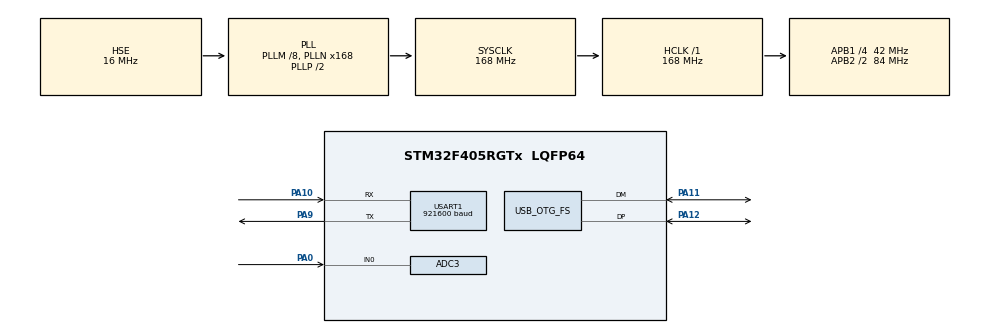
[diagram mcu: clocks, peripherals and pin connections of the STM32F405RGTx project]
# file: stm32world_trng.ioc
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ADC3.Channel-0\#ChannelRegularConversion=ADC_CHANNEL_0
ADC3.DMAContinuousRequests=ENABLE
ADC3.ExternalTrigConv=ADC_EXTERNALTRIGCONV_T8_TRGO
ADC3.InjNumberOfConversion=0
ADC3.NbrOfConversionFlag=1
ADC3.Rank-0\#ChannelRegularConversion=1
ADC3.SamplingTime-0\#ChannelRegularConversion=ADC_SAMPLETIME_3CYCLES
ADC3.ScanConvMode=DISABLE
Dma.ADC3.0.Direction=DMA_PERIPH_TO_MEMORY
Dma.ADC3.0.FIFOMode=DMA_FIFOMODE_DISABLE
Dma.ADC3.0.Instance=DMA2_Stream0
Dma.ADC3.0.MemDataAlignment=DMA_MDATAALIGN_HALFWORD
Dma.ADC3.0.MemInc=DMA_MINC_ENABLE
Dma.ADC3.0.Mode=DMA_CIRCULAR
Dma.ADC3.0.PeriphDataAlignment=DMA_PDATAALIGN_HALFWORD
Dma.ADC3.0.PeriphInc=DMA_PINC_DISABLE
Dma.ADC3.0.Priority=DMA_PRIORITY_LOW
Dma.Request0=ADC3
Mcu.Family=STM32F4
Mcu.Name=STM32F405RGTx
Mcu.Package=LQFP64
NVIC.DMA2_Stream0_IRQn=true\:0\:0\:false\:false\:true\:false\:true\:true
NVIC.OTG_FS_IRQn=true\:0\:0\:false\:false\:true\:false\:true\:true
NVIC.PriorityGroup=NVIC_PRIORITYGROUP_4
NVIC.TIM8_UP_TIM13_IRQn=true\:0\:0\:false\:false\:true\:true\:true\:true
PA0-WKUP.Signal=ADCx_IN0
PA10.Mode=Asynchronous
PA10.Signal=USART1_RX
PA11.Mode=Device_Only
PA11.Signal=USB_OTG_FS_DM
PA12.Mode=Device_Only
PA12.Signal=USB_OTG_FS_DP
PA13.Mode=Trace_Asynchronous_SW
PA13.Signal=SYS_JTMS-SWDIO
PA14.Mode=Trace_Asynchronous_SW
PA14.Signal=SYS_JTCK-SWCLK
PA9.Mode=Asynchronous
PA9.Signal=USART1_TX
PB3.Mode=Trace_Asynchronous_SW
PB3.Signal=SYS_JTDO-SWO
PH0-OSC_IN.Mode=HSE-External-Oscillator
PH0-OSC_IN.Signal=RCC_OSC_IN
PH1-OSC_OUT.Mode=HSE-External-Oscillator
PH1-OSC_OUT.Signal=RCC_OSC_OUT
ProjectManager.HeapSize=0x200
ProjectManager.StackSize=0x400
ProjectManager.TargetToolchain=STM32CubeIDE
RCC.48MHZClocksFreq_Value=48000000
RCC.AHBFreq_Value=168000000
RCC.APB1CLKDivider=RCC_HCLK_DIV4
RCC.APB1Freq_Value=42000000
RCC.APB1TimFreq_Value=84000000
RCC.APB2CLKDivider=RCC_HCLK_DIV2
RCC.APB2Freq_Value=84000000
RCC.APB2TimFreq_Value=168000000
RCC.CortexFreq_Value=168000000
RCC.HCLKFreq_Value=168000000
RCC.HSE_VALUE=16000000
RCC.HSI_VALUE=16000000
RCC.LSE_VALUE=32768
RCC.PLLM=8
RCC.PLLN=168
RCC.PLLQ=7
RCC.SYSCLKFreq_VALUE=168000000
RCC.SYSCLKSource=RCC_SYSCLKSOURCE_PLLCLK
RCC.VCOOutputFreq_Value=336000000
SH.ADCx_IN0.0=ADC3_IN0,IN0
TIM8.AutoReloadPreload=TIM_AUTORELOAD_PRELOAD_ENABLE
TIM8.Period=1999
TIM8.Prescaler=2624
TIM8.TIM_MasterOutputTrigger=TIM_TRGO_UPDATE
USART1.BaudRate=921600
USART1.VirtualMode=VM_ASYNC
USB_DEVICE.CLASS_NAME_FS=MSC
USB_DEVICE.MANUFACTURER_STRING-MSC_FS=STM32World
USB_DEVICE.PRODUCT_STRING_MSC_FS=Random
USB_DEVICE.USBD_SELF_POWERED-MSC_FS=0
USB_DEVICE.VirtualMode-MSC_FS=Msc
USB_DEVICE.VirtualModeFS=Msc_FS
USB_OTG_FS.VirtualMode=Device_Only
VP_RNG_VS_RNG.Mode=RNG_Activate
VP_TIM8_VS_ClockSourceINT.Mode=Internal
VP_USB_DEVICE_VS_USB_DEVICE_MSC_FS.Mode=MSC_FS
board=custom

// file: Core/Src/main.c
/* USER CODE BEGIN Header */
/**
 ******************************************************************************
 * @file           : main.c
 * @brief          : Main program body
 ******************************************************************************
 * @attention
 *
 * Copyright (c) 2024 Lars Boegild Thomsen <lth@stm32qworld.com>
 * All rights reserved.
 *
 * This software is licensed under terms that can be found in the LICENSE file
 * in the root directory of this software component.
 * If no LICENSE file comes with this software, it is provided AS-IS.
 *
 ******************************************************************************
 */
/* USER CODE END Header */
#include "main.h"
#include "usb_device.h"

/* USER CODE BEGIN Includes */
#include <stdio.h>
#include <math.h>
#include "trng.h"
/* USER CODE END Includes */

/* USER CODE BEGIN PD */
#define BUFFER_SIZE 32
/* USER CODE END PD */

ADC_HandleTypeDef hadc3;
DMA_HandleTypeDef hdma_adc3;

RNG_HandleTypeDef hrng;

TIM_HandleTypeDef htim8;

UART_HandleTypeDef huart1;

/* USER CODE BEGIN PV */
uint16_t buffer[2 * BUFFER_SIZE];
uint16_t last_adc;
uint32_t last_seed;
/* USER CODE END PV */

void SystemClock_Config(void);
static void MX_GPIO_Init(void);
static void MX_DMA_Init(void);
static void MX_USART1_UART_Init(void);
static void MX_RNG_Init(void);
static void MX_ADC3_Init(void);
static void MX_TIM8_Init(void);

/* USER CODE BEGIN 0 */

// Send printf to uart1
int _write(int fd, char *ptr, int len) {
    HAL_StatusTypeDef hstatus;

    if (fd == 1 || fd == 2) {
        hstatus = HAL_UART_Transmit(&huart1, (uint8_t*) ptr, len, HAL_MAX_DELAY);
        if (hstatus == HAL_OK)
            return len;
        else
            return -1;
    }
    return -1;
}

void do_adc(uint16_t *buf) {

    uint32_t seed = 0;

    for (int i = 0; i < BUFFER_SIZE; ++i) {
        seed |= (uint32_t) (buf[i] & 0x01); // Use only the least significant bit
        if (i != BUFFER_SIZE - 1)
            seed = seed << 1;
    }

    //printf("New seed: 0x%08lx\n", seed);
    srandom(seed);
    last_adc = buf[0];
    last_seed = seed;

}

void HAL_ADC_ConvCpltCallback(ADC_HandleTypeDef *hadc) {
    do_adc(&buffer[BUFFER_SIZE]);
}

void HAL_ADC_ConvHalfCpltCallback(ADC_HandleTypeDef *hadc) {
    do_adc(&buffer[0]);
}

/* USER CODE END 0 */

int main(void)
{

    /* MCU Configuration--------------------------------------------------------*/

    /* Reset of all peripherals, Initializes the Flash interface and the Systick. */
    HAL_Init();

    /* Configure the system clock */
    SystemClock_Config();

    /* Initialize all configured peripherals */
    MX_GPIO_Init();
    MX_DMA_Init();
    MX_USART1_UART_Init();
    MX_USB_DEVICE_Init();
    MX_RNG_Init();
    MX_ADC3_Init();
    MX_TIM8_Init();
    /* USER CODE BEGIN 2 */

    printf("\n\n\n\nStarting trng\n");

    HAL_TIM_Base_Start_IT(&htim8);
    HAL_ADC_Start_DMA(&hadc3, (uint32_t*) &buffer, 2 * BUFFER_SIZE);

    /* USER CODE END 2 */

    /* Infinite loop */
    /* USER CODE BEGIN WHILE */

    uint32_t loop_cnt = 0, now = 0, next_tick = 1100;

    while (1) {

        now = uwTick;

        if (now >= next_tick) {

            uint32_t r1;

            if (HAL_RNG_GenerateRandomNumber(&hrng, &r1) != HAL_OK) {
                printf("RNG Error\n");
            }

            // To get the full 32 bit we only use the lower 16 bit but use it twice - RAND_MAX is 0x7fffffff
            uint32_t r2 = (uint32_t) (((random() & 0xffff) << 16) | (random() & 0xffff));

            printf("Tick %5lu loop=%7lu la=0x%04x ls=0x%08lx r1=0x%08lx r2=0x%08lx\n", now / 1000, loop_cnt, last_adc, last_seed, r1, r2);

            loop_cnt = 0;
            next_tick = now + 1000;
        }

        ++loop_cnt;

        /* USER CODE END WHILE */

    }
}

void SystemClock_Config(void)
{
    RCC_OscInitTypeDef RCC_OscInitStruct = { 0 };
    RCC_ClkInitTypeDef RCC_ClkInitStruct = { 0 };

    /** Configure the main internal regulator output voltage
     */
    __HAL_RCC_PWR_CLK_ENABLE();
    __HAL_PWR_VOLTAGESCALING_CONFIG(PWR_REGULATOR_VOLTAGE_SCALE1);

    /** Initializes the RCC Oscillators according to the specified parameters
     * in the RCC_OscInitTypeDef structure.
     */
    RCC_OscInitStruct.OscillatorType = RCC_OSCILLATORTYPE_HSE;
    RCC_OscInitStruct.HSEState = RCC_HSE_ON;
    RCC_OscInitStruct.PLL.PLLState = RCC_PLL_ON;
    RCC_OscInitStruct.PLL.PLLSource = RCC_PLLSOURCE_HSE;
    RCC_OscInitStruct.PLL.PLLM = 8;
    RCC_OscInitStruct.PLL.PLLN = 168;
    RCC_OscInitStruct.PLL.PLLP = RCC_PLLP_DIV2;
    RCC_OscInitStruct.PLL.PLLQ = 7;
    if (HAL_RCC_OscConfig(&RCC_OscInitStruct) != HAL_OK)
            {
        Error_Handler();
    }

    /** Initializes the CPU, AHB and APB buses clocks
     */
    RCC_ClkInitStruct.ClockType = RCC_CLOCKTYPE_HCLK | RCC_CLOCKTYPE_SYSCLK
            | RCC_CLOCKTYPE_PCLK1 | RCC_CLOCKTYPE_PCLK2;
    RCC_ClkInitStruct.SYSCLKSource = RCC_SYSCLKSOURCE_PLLCLK;
    RCC_ClkInitStruct.AHBCLKDivider = RCC_SYSCLK_DIV1;
    RCC_ClkInitStruct.APB1CLKDivider = RCC_HCLK_DIV4;
    RCC_ClkInitStruct.APB2CLKDivider = RCC_HCLK_DIV2;

    if (HAL_RCC_ClockConfig(&RCC_ClkInitStruct, FLASH_LATENCY_5) != HAL_OK)
            {
        Error_Handler();
    }
}

static void MX_ADC3_Init(void)
{

    ADC_ChannelConfTypeDef sConfig = { 0 };

    /** Configure the global features of the ADC (Clock, Resolution, Data Alignment and number of conversion)
     */
    hadc3.Instance = ADC3;
    hadc3.Init.ClockPrescaler = ADC_CLOCK_SYNC_PCLK_DIV4;
    hadc3.Init.Resolution = ADC_RESOLUTION_12B;
    hadc3.Init.ScanConvMode = DISABLE;
    hadc3.Init.ContinuousConvMode = DISABLE;
    hadc3.Init.DiscontinuousConvMode = DISABLE;
    hadc3.Init.ExternalTrigConvEdge = ADC_EXTERNALTRIGCONVEDGE_RISING;
    hadc3.Init.ExternalTrigConv = ADC_EXTERNALTRIGCONV_T8_TRGO;
    hadc3.Init.DataAlign = ADC_DATAALIGN_RIGHT;
    hadc3.Init.NbrOfConversion = 1;
    hadc3.Init.DMAContinuousRequests = ENABLE;
    hadc3.Init.EOCSelection = ADC_EOC_SINGLE_CONV;
    if (HAL_ADC_Init(&hadc3) != HAL_OK)
            {
        Error_Handler();
    }

    /** Configure for the selected ADC regular channel its corresponding rank in the sequencer and its sample time.
     */
    sConfig.Channel = ADC_CHANNEL_0;
    sConfig.Rank = 1;
    sConfig.SamplingTime = ADC_SAMPLETIME_3CYCLES;
    if (HAL_ADC_ConfigChannel(&hadc3, &sConfig) != HAL_OK)
            {
        Error_Handler();
    }

}

static void MX_RNG_Init(void)
{

    hrng.Instance = RNG;
    if (HAL_RNG_Init(&hrng) != HAL_OK)
            {
        Error_Handler();
    }

}

static void MX_TIM8_Init(void)
{

    TIM_ClockConfigTypeDef sClockSourceConfig = { 0 };
    TIM_MasterConfigTypeDef sMasterConfig = { 0 };

    htim8.Instance = TIM8;
    htim8.Init.Prescaler = 2624;
    htim8.Init.CounterMode = TIM_COUNTERMODE_UP;
    htim8.Init.Period = 1999;
    htim8.Init.ClockDivision = TIM_CLOCKDIVISION_DIV1;
    htim8.Init.RepetitionCounter = 0;
    htim8.Init.AutoReloadPreload = TIM_AUTORELOAD_PRELOAD_ENABLE;
    if (HAL_TIM_Base_Init(&htim8) != HAL_OK)
            {
        Error_Handler();
    }
    sClockSourceConfig.ClockSource = TIM_CLOCKSOURCE_INTERNAL;
    if (HAL_TIM_ConfigClockSource(&htim8, &sClockSourceConfig) != HAL_OK)
            {
        Error_Handler();
    }
    sMasterConfig.MasterOutputTrigger = TIM_TRGO_UPDATE;
    sMasterConfig.MasterSlaveMode = TIM_MASTERSLAVEMODE_DISABLE;
    if (HAL_TIMEx_MasterConfigSynchronization(&htim8, &sMasterConfig) != HAL_OK)
            {
        Error_Handler();
    }

}

static void MX_USART1_UART_Init(void)
{

    huart1.Instance = USART1;
    huart1.Init.BaudRate = 921600;
    huart1.Init.WordLength = UART_WORDLENGTH_8B;
    huart1.Init.StopBits = UART_STOPBITS_1;
    huart1.Init.Parity = UART_PARITY_NONE;
    huart1.Init.Mode = UART_MODE_TX_RX;
    huart1.Init.HwFlowCtl = UART_HWCONTROL_NONE;
    huart1.Init.OverSampling = UART_OVERSAMPLING_16;
    if (HAL_UART_Init(&huart1) != HAL_OK)
            {
        Error_Handler();
    }

}

static void MX_DMA_Init(void)
{

    /* DMA controller clock enable */
    __HAL_RCC_DMA2_CLK_ENABLE();

    /* DMA interrupt init */
    /* DMA2_Stream0_IRQn interrupt configuration */
    HAL_NVIC_SetPriority(DMA2_Stream0_IRQn, 0, 0);
    HAL_NVIC_EnableIRQ(DMA2_Stream0_IRQn);

}

static void MX_GPIO_Init(void)
{

    /* GPIO Ports Clock Enable */
    __HAL_RCC_GPIOH_CLK_ENABLE();
    __HAL_RCC_GPIOA_CLK_ENABLE();
    __HAL_RCC_GPIOB_CLK_ENABLE();

}

void Error_Handler(void)
{
    __disable_irq();
    while (1)
    {
    }
}
